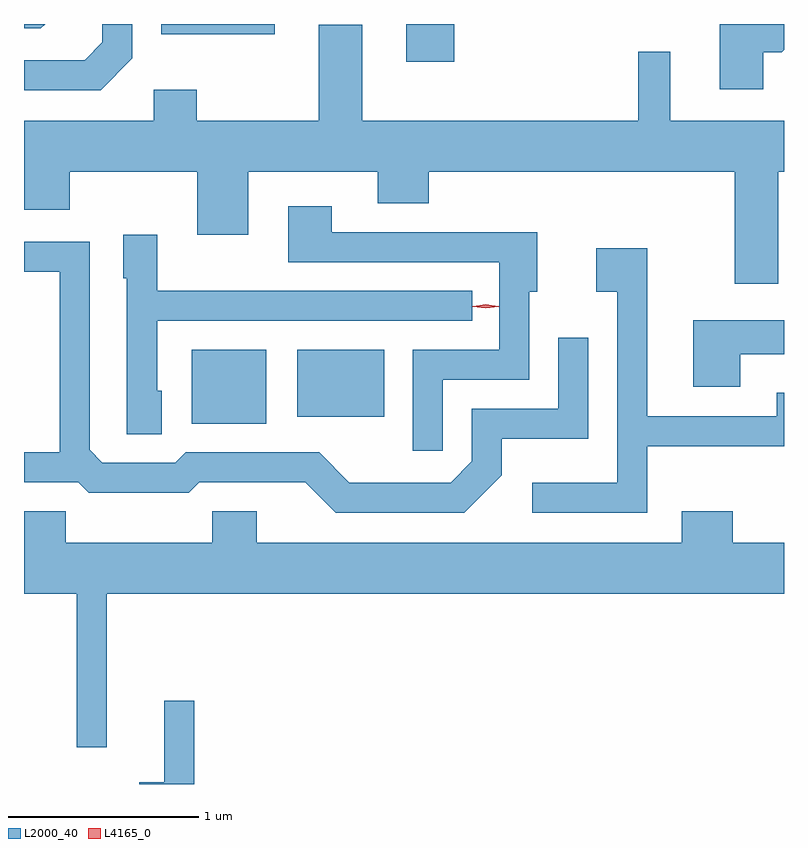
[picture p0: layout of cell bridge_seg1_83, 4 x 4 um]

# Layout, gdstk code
import gdstk
lib = gdstk.Library(unit=1e-6, precision=1e-09)
def R(c, l, rs):  # rectangles x0, y0, x1, y1
    for r in rs: c.add(gdstk.rectangle(r[:2], r[2:], *l))
def P(c, l, *ps):  # polygons
    for p in ps: c.add(gdstk.Polygon(p, *l))
L2000_40 = (2000, 40)
L4165_0 = (4165, 0)

bridge_seg1_83 = lib.new_cell('bridge_seg1_83')
R(bridge_seg1_83, L2000_40, [(1066.221,876.051,1066.614,876.439), (1066.776,876.086,1067.234,876.439), (1067.351,877.956,1067.604,878.154), (1066.061,878.101,1066.659,878.154)])
P(bridge_seg1_83, L2000_40, [(1065.909,877.974),(1065.909,878.154),(1065.751,878.154),(1065.751,878.057),(1065.659,877.964),(1065.339,877.964),(1065.339,877.806),(1065.742,877.806)],
  [(1069.229,878.006),(1069.327,878.006),(1069.339,878.018),(1069.339,878.154),(1069.001,878.154),(1069.001,877.811),(1069.229,877.811)],
  [(1065.45,878.154),(1065.339,878.154),(1065.339,878.131),(1065.427,878.131)],
  [(1069.309,877.376),(1069.339,877.376),(1069.339,877.644),(1068.739,877.644),(1068.739,878.008),(1068.571,878.008),(1068.571,877.644),(1067.119,877.644),(1067.119,878.149),(1066.891,878.149),(1066.891,877.644),(1066.249,877.644),(1066.249,877.809),(1066.021,877.809),(1066.021,877.644),(1065.339,877.644),(1065.339,877.176),(1065.579,877.176),(1065.579,877.376),(1066.251,877.376),(1066.251,877.046),(1066.519,877.046),(1066.519,877.376),(1067.201,877.376),(1067.201,877.211),(1067.469,877.211),(1067.469,877.376),(1069.081,877.376),(1069.081,876.786),(1069.309,876.786)],
  [(1067.544,876.281),(1067.999,876.281),(1067.999,876.746),(1068.039,876.746),(1068.039,877.059),(1066.959,877.059),(1066.959,877.194),(1066.731,877.194),(1066.731,876.901),(1067.841,876.901),(1067.841,876.439),(1067.386,876.439),(1067.386,875.908),(1067.544,875.908)],
  [(1066.064,876.224),(1066.039,876.224),(1066.039,876.591),(1067.698,876.591),(1067.698,876.749),(1066.039,876.749),(1066.039,877.044),(1065.861,877.044),(1065.861,876.816),(1065.881,876.816),(1065.881,875.996),(1066.064,875.996)],
  [(1067.854,875.779),(1067.854,875.971),(1068.309,875.971),(1068.309,876.503),(1068.151,876.503),(1068.151,876.129),(1067.696,876.129),(1067.696,875.852),(1067.584,875.739),(1067.052,875.739),(1066.892,875.899),(1066.189,875.899),(1066.134,875.844),(1065.752,875.844),(1065.684,875.912),(1065.684,877.009),(1065.339,877.009),(1065.339,876.851),(1065.526,876.851),(1065.526,875.899),(1065.339,875.899),(1065.339,875.741),(1065.624,875.741),(1065.679,875.686),(1066.207,875.686),(1066.262,875.741),(1066.819,875.741),(1066.979,875.581),(1067.657,875.581)],
  [(1068.619,875.931),(1069.339,875.931),(1069.339,876.214),(1069.301,876.214),(1069.301,876.089),(1068.619,876.089),(1068.619,876.974),(1068.351,876.974),(1068.351,876.746),(1068.461,876.746),(1068.461,875.739),(1068.013,875.739),(1068.013,875.581),(1068.619,875.581)],
  [(1069.109,876.416),(1069.339,876.416),(1069.339,876.594),(1068.861,876.594),(1068.861,876.246),(1069.109,876.246)],
  [(1065.774,875.156),(1069.339,875.156),(1069.339,875.424),(1069.069,875.424),(1069.069,875.589),(1068.801,875.589),(1068.801,875.424),(1066.564,875.424),(1066.564,875.589),(1066.331,875.589),(1066.331,875.424),(1065.559,875.424),(1065.559,875.589),(1065.339,875.589),(1065.339,875.156),(1065.616,875.156),(1065.616,874.348),(1065.774,874.348)],
  [(1066.234,874.593),(1066.076,874.593),(1066.076,874.164),(1065.946,874.164),(1065.946,874.154),(1066.234,874.154)])
P(bridge_seg1_83, L4165_0, [(1067.769,876.657),(1067.7,876.667),(1067.699,876.667),(1067.7,876.668),(1067.769,876.677),(1067.838,876.668),(1067.839,876.667),(1067.838,876.667)],
  [(1067.77,876.659),(1067.703,876.668),(1067.703,876.669),(1067.703,876.669),(1067.77,876.679),(1067.836,876.669),(1067.836,876.669),(1067.836,876.668)])

lib.write_gds('bridge_seg1_83.gds')
